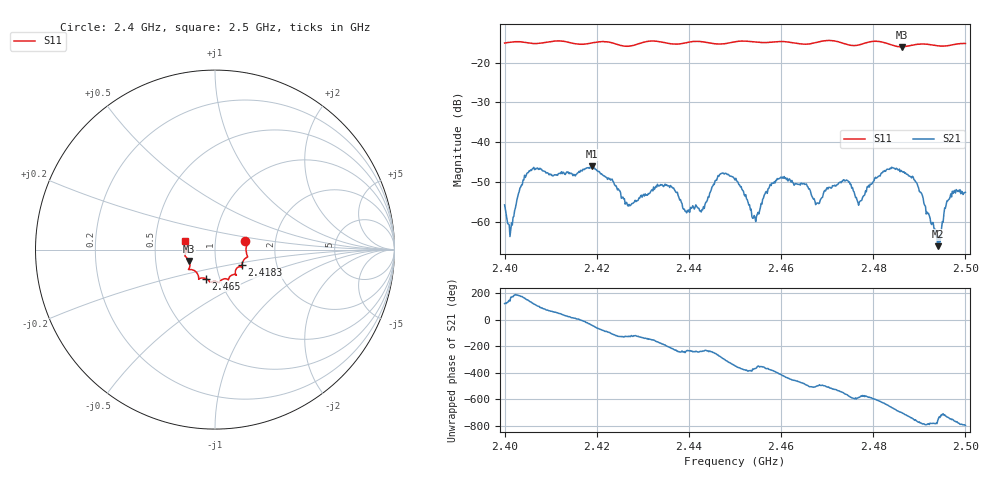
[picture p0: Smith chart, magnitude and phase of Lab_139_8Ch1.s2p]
# Hz S RI R 50
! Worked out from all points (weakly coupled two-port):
!   601 points, 2.4 GHz to 2.5 GHz, reference 50 ohm
!   highest |S21| = -45.98 dB at 2.419 GHz (marker M1); lowest = -66.0 dB at 2.494 GHz (marker M2)
!   lowest |S11| = -16.1 dB at 2.4862 GHz (marker M3), VSWR 1.37, Z = 37.2 - j4.84 ohm
!   |S11| at or under -10 dB: start of sweep to end of sweep
!   S12 and S22 are empty: the file has one direction only
!   S11 on the Smith chart (normalised r, x): 2.4 GHz: 1.40, +0.14; 2.4183 GHz: 1.33, -0.24; 2.465 GHz: 0.86, -0.28; 2.5 GHz: 0.71, +0.07
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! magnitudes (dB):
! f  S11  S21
! 2.4 GHz  -15.1  -55.7
! 2.4015 GHz  -14.9  -60.2
! 2.4058 GHz  -15.2  -47.0
! 2.4167 GHz  -15.4  -47.1
! 2.4183 GHz  -15.2  -46.5
! 2.419 GHz  -15.1  -46.0
! 2.427 GHz  -15.9  -55.5
! 2.4333 GHz  -14.7  -50.9
! 2.4397 GHz  -15.0  -57.0
! 2.45 GHz  -14.8  -49.4
! 2.4542 GHz  -14.8  -58.3
! 2.4593 GHz  -14.8  -49.2
! 2.465 GHz  -15.4  -50.3
! 2.4667 GHz  -15.2  -53.5
! 2.474 GHz  -15.4  -49.6
! 2.477 GHz  -15.6  -54.9
! 2.4833 GHz  -15.3  -46.7
! 2.4862 GHz  -16.1  -47.2
! 2.4892 GHz  -15.5  -49.8
! 2.494 GHz  -15.8  -66.0
! 2.4963 GHz  -15.7  -54.4
! 2.5 GHz  -15.2  -52.5
